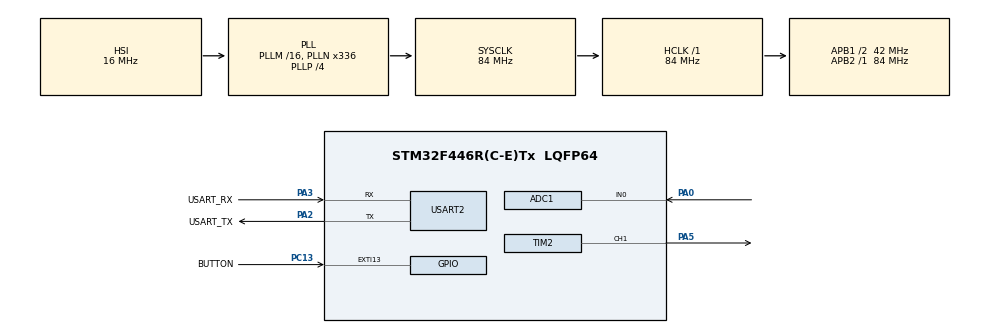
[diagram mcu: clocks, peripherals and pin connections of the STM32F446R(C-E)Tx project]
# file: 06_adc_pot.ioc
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ADC1.Channel-0\#ChannelRegularConversion=ADC_CHANNEL_0
ADC1.NbrOfConversionFlag=1
ADC1.Rank-0\#ChannelRegularConversion=1
ADC1.SamplingTime-0\#ChannelRegularConversion=ADC_SAMPLETIME_84CYCLES
ADC1.master=1
Mcu.Family=STM32F4
Mcu.Name=STM32F446R(C-E)Tx
Mcu.Package=LQFP64
NUCLEO-F446RE.BUTTON=0
NVIC.EXTI15_10_IRQn=true\:0\:0\:false\:false\:true\:true\:true\:true
NVIC.PriorityGroup=NVIC_PRIORITYGROUP_0
NVIC.TIM6_DAC_IRQn=true\:0\:0\:false\:false\:true\:true\:true\:true
PA0-WKUP.Signal=ADCx_IN0
PA13.GPIO_Label=TMS
PA13.Mode=Serial_Wire
PA13.Signal=SYS_JTMS-SWDIO
PA14.GPIO_Label=TCK
PA14.Mode=Serial_Wire
PA14.Signal=SYS_JTCK-SWCLK
PA2.GPIO_Label=USART_TX
PA2.GPIO_Speed=GPIO_SPEED_FREQ_VERY_HIGH
PA2.Mode=Asynchronous
PA2.Signal=USART2_TX
PA3.GPIO_Label=USART_RX
PA3.Mode=Asynchronous
PA3.Signal=USART2_RX
PA5.Signal=S_TIM2_CH1_ETR
PB3.GPIO_Label=SWO
PB3.Signal=SYS_JTDO-SWO
PC13.GPIO_Label=BUTTON
PC13.Signal=GPXTI13
PC14-OSC32_IN.Signal=RCC_OSC32_IN
PC15-OSC32_OUT.Signal=RCC_OSC32_OUT
PH0-OSC_IN.Signal=RCC_OSC_IN
PH1-OSC_OUT.Signal=RCC_OSC_OUT
ProjectManager.HeapSize=0x200
ProjectManager.StackSize=0x400
ProjectManager.TargetToolchain=STM32CubeIDE
RCC.AHBFreq_Value=84000000
RCC.APB1CLKDivider=RCC_HCLK_DIV2
RCC.APB1Freq_Value=42000000
RCC.APB1TimFreq_Value=84000000
RCC.APB2Freq_Value=84000000
RCC.APB2TimFreq_Value=84000000
RCC.CortexFreq_Value=84000000
RCC.FLatency-AdvancedSettings=FLASH_LATENCY_2
RCC.HCLKFreq_Value=84000000
RCC.HSE_VALUE=8000000
RCC.HSI_VALUE=16000000
RCC.LSE_VALUE=32768
RCC.PLLN=336
RCC.PLLP=RCC_PLLP_DIV4
RCC.SYSCLKFreq_VALUE=84000000
RCC.SYSCLKSource=RCC_SYSCLKSOURCE_PLLCLK
RCC.USBFreq_Value=168000000
RCC.VCOOutputFreq_Value=336000000
SH.ADCx_IN0.0=ADC1_IN0,IN0
SH.S_TIM2_CH1_ETR.0=TIM2_CH1,PWM Generation1 CH1
TIM2.AutoReloadPreload=TIM_AUTORELOAD_PRELOAD_ENABLE
TIM2.Channel-PWM\ Generation1\ CH1=TIM_CHANNEL_1
TIM2.Period=999
TIM2.Prescaler=83
TIM6.AutoReloadPreload=TIM_AUTORELOAD_PRELOAD_ENABLE
TIM6.Period=4999
TIM6.Prescaler=8399
USART2.VirtualMode=VM_ASYNC
VP_NUCLEO-F446RE_VS_BSP_COMMON.Mode=COMMON
VP_TIM2_VS_ClockSourceINT.Mode=Internal
VP_TIM6_VS_ClockSourceINT.Mode=Enable_Timer
board=NUCLEO-F446RE

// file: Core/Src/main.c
/* USER CODE BEGIN Header */
/**
  ******************************************************************************
  * @file           : main.c
  * @brief          : Main program body
  ******************************************************************************
  * @attention
  *
  * Copyright (c) 2026 STMicroelectronics.
  * All rights reserved.
  *
  * This software is licensed under terms that can be found in the LICENSE file
  * in the root directory of this software component.
  * If no LICENSE file comes with this software, it is provided AS-IS.
  *
  ******************************************************************************
  */
/* USER CODE END Header */
#include "main.h"

/* USER CODE BEGIN Includes */
#include <stdio.h>

/* USER CODE END Includes */

ADC_HandleTypeDef hadc1;

TIM_HandleTypeDef htim2;
TIM_HandleTypeDef htim6;

UART_HandleTypeDef huart2;

/* USER CODE BEGIN PV */
uint32_t adcValue  = 0;
uint32_t lastPrint = 0;

/* USER CODE END PV */

void SystemClock_Config(void);
static void MX_GPIO_Init(void);
static void MX_USART2_UART_Init(void);
static void MX_TIM6_Init(void);
static void MX_TIM2_Init(void);
static void MX_ADC1_Init(void);

/* USER CODE BEGIN 0 */
int __io_putchar(int ch)
{
    HAL_UART_Transmit(&huart2, (uint8_t *)&ch, 1, HAL_MAX_DELAY);
    return ch;
}
uint32_t readKnobAverage(void)
{
    uint32_t sum = 0;

    for (int i = 0; i < 8; i++)
    {
        HAL_ADC_Start(&hadc1);
        HAL_ADC_PollForConversion(&hadc1, 10);
        sum += HAL_ADC_GetValue(&hadc1);
        HAL_ADC_Stop(&hadc1);
    }

    return sum / 8;
}
/* USER CODE END 0 */

int main(void)
{

  /* MCU Configuration--------------------------------------------------------*/

  /* Reset of all peripherals, Initializes the Flash interface and the Systick. */
  HAL_Init();

  /* Configure the system clock */
  SystemClock_Config();

  /* Initialize all configured peripherals */
  MX_GPIO_Init();
  MX_USART2_UART_Init();
  MX_TIM6_Init();
  MX_TIM2_Init();
  MX_ADC1_Init();
  /* USER CODE BEGIN 2 */
  HAL_TIM_PWM_Start(&htim2, TIM_CHANNEL_1);
  setvbuf(stdout, NULL, _IONBF, 0);
  printf("Lesson 06: turn the knob\r\n");
  HAL_TIM_PWM_Start(&htim2, TIM_CHANNEL_1);

  /* USER CODE END 2 */

  /* Infinite loop */
  while (1)
  {

    /* USER CODE BEGIN 3 */
	  adcValue = readKnobAverage();

	  uint32_t duty = adcValue * 999 / 4095;
	  __HAL_TIM_SET_COMPARE(&htim2, TIM_CHANNEL_1, duty);

	  if (HAL_GetTick() - lastPrint >= 200)
	  {
	      lastPrint = HAL_GetTick();
	      uint32_t mv = adcValue * 3300 / 4095;
	      printf("ADC = %4lu   Voltage = %4lu mV   LED = %3lu%%\r\n", adcValue, mv, duty / 10);
	  }
  }
  /* USER CODE END 3 */
}

void SystemClock_Config(void)
{
  RCC_OscInitTypeDef RCC_OscInitStruct = {0};
  RCC_ClkInitTypeDef RCC_ClkInitStruct = {0};

  /** Configure the main internal regulator output voltage
  */
  __HAL_RCC_PWR_CLK_ENABLE();
  __HAL_PWR_VOLTAGESCALING_CONFIG(PWR_REGULATOR_VOLTAGE_SCALE3);

  /** Initializes the RCC Oscillators according to the specified parameters
  * in the RCC_OscInitTypeDef structure.
  */
  RCC_OscInitStruct.OscillatorType = RCC_OSCILLATORTYPE_HSI;
  RCC_OscInitStruct.HSIState = RCC_HSI_ON;
  RCC_OscInitStruct.HSICalibrationValue = RCC_HSICALIBRATION_DEFAULT;
  RCC_OscInitStruct.PLL.PLLState = RCC_PLL_ON;
  RCC_OscInitStruct.PLL.PLLSource = RCC_PLLSOURCE_HSI;
  RCC_OscInitStruct.PLL.PLLM = 16;
  RCC_OscInitStruct.PLL.PLLN = 336;
  RCC_OscInitStruct.PLL.PLLP = RCC_PLLP_DIV4;
  RCC_OscInitStruct.PLL.PLLQ = 2;
  RCC_OscInitStruct.PLL.PLLR = 2;
  if (HAL_RCC_OscConfig(&RCC_OscInitStruct) != HAL_OK)
  {
    Error_Handler();
  }

  /** Initializes the CPU, AHB and APB buses clocks
  */
  RCC_ClkInitStruct.ClockType = RCC_CLOCKTYPE_HCLK|RCC_CLOCKTYPE_SYSCLK
                              |RCC_CLOCKTYPE_PCLK1|RCC_CLOCKTYPE_PCLK2;
  RCC_ClkInitStruct.SYSCLKSource = RCC_SYSCLKSOURCE_PLLCLK;
  RCC_ClkInitStruct.AHBCLKDivider = RCC_SYSCLK_DIV1;
  RCC_ClkInitStruct.APB1CLKDivider = RCC_HCLK_DIV2;
  RCC_ClkInitStruct.APB2CLKDivider = RCC_HCLK_DIV1;

  if (HAL_RCC_ClockConfig(&RCC_ClkInitStruct, FLASH_LATENCY_2) != HAL_OK)
  {
    Error_Handler();
  }
}

static void MX_ADC1_Init(void)
{

  ADC_ChannelConfTypeDef sConfig = {0};

  /** Configure the global features of the ADC (Clock, Resolution, Data Alignment and number of conversion)
  */
  hadc1.Instance = ADC1;
  hadc1.Init.ClockPrescaler = ADC_CLOCK_SYNC_PCLK_DIV4;
  hadc1.Init.Resolution = ADC_RESOLUTION_12B;
  hadc1.Init.ScanConvMode = DISABLE;
  hadc1.Init.ContinuousConvMode = DISABLE;
  hadc1.Init.DiscontinuousConvMode = DISABLE;
  hadc1.Init.ExternalTrigConvEdge = ADC_EXTERNALTRIGCONVEDGE_NONE;
  hadc1.Init.ExternalTrigConv = ADC_SOFTWARE_START;
  hadc1.Init.DataAlign = ADC_DATAALIGN_RIGHT;
  hadc1.Init.NbrOfConversion = 1;
  hadc1.Init.DMAContinuousRequests = DISABLE;
  hadc1.Init.EOCSelection = ADC_EOC_SINGLE_CONV;
  if (HAL_ADC_Init(&hadc1) != HAL_OK)
  {
    Error_Handler();
  }

  /** Configure for the selected ADC regular channel its corresponding rank in the sequencer and its sample time.
  */
  sConfig.Channel = ADC_CHANNEL_0;
  sConfig.Rank = 1;
  sConfig.SamplingTime = ADC_SAMPLETIME_84CYCLES;
  if (HAL_ADC_ConfigChannel(&hadc1, &sConfig) != HAL_OK)
  {
    Error_Handler();
  }

}

static void MX_TIM2_Init(void)
{

  TIM_ClockConfigTypeDef sClockSourceConfig = {0};
  TIM_MasterConfigTypeDef sMasterConfig = {0};
  TIM_OC_InitTypeDef sConfigOC = {0};

  htim2.Instance = TIM2;
  htim2.Init.Prescaler = 83;
  htim2.Init.CounterMode = TIM_COUNTERMODE_UP;
  htim2.Init.Period = 999;
  htim2.Init.ClockDivision = TIM_CLOCKDIVISION_DIV1;
  htim2.Init.AutoReloadPreload = TIM_AUTORELOAD_PRELOAD_ENABLE;
  if (HAL_TIM_Base_Init(&htim2) != HAL_OK)
  {
    Error_Handler();
  }
  sClockSourceConfig.ClockSource = TIM_CLOCKSOURCE_INTERNAL;
  if (HAL_TIM_ConfigClockSource(&htim2, &sClockSourceConfig) != HAL_OK)
  {
    Error_Handler();
  }
  if (HAL_TIM_PWM_Init(&htim2) != HAL_OK)
  {
    Error_Handler();
  }
  sMasterConfig.MasterOutputTrigger = TIM_TRGO_RESET;
  sMasterConfig.MasterSlaveMode = TIM_MASTERSLAVEMODE_DISABLE;
  if (HAL_TIMEx_MasterConfigSynchronization(&htim2, &sMasterConfig) != HAL_OK)
  {
    Error_Handler();
  }
  sConfigOC.OCMode = TIM_OCMODE_PWM1;
  sConfigOC.Pulse = 0;
  sConfigOC.OCPolarity = TIM_OCPOLARITY_HIGH;
  sConfigOC.OCFastMode = TIM_OCFAST_DISABLE;
  if (HAL_TIM_PWM_ConfigChannel(&htim2, &sConfigOC, TIM_CHANNEL_1) != HAL_OK)
  {
    Error_Handler();
  }
  HAL_TIM_MspPostInit(&htim2);

}

static void MX_TIM6_Init(void)
{

  TIM_MasterConfigTypeDef sMasterConfig = {0};

  htim6.Instance = TIM6;
  htim6.Init.Prescaler = 8399;
  htim6.Init.CounterMode = TIM_COUNTERMODE_UP;
  htim6.Init.Period = 4999;
  htim6.Init.AutoReloadPreload = TIM_AUTORELOAD_PRELOAD_ENABLE;
  if (HAL_TIM_Base_Init(&htim6) != HAL_OK)
  {
    Error_Handler();
  }
  sMasterConfig.MasterOutputTrigger = TIM_TRGO_RESET;
  sMasterConfig.MasterSlaveMode = TIM_MASTERSLAVEMODE_DISABLE;
  if (HAL_TIMEx_MasterConfigSynchronization(&htim6, &sMasterConfig) != HAL_OK)
  {
    Error_Handler();
  }

}

static void MX_USART2_UART_Init(void)
{

  huart2.Instance = USART2;
  huart2.Init.BaudRate = 115200;
  huart2.Init.WordLength = UART_WORDLENGTH_8B;
  huart2.Init.StopBits = UART_STOPBITS_1;
  huart2.Init.Parity = UART_PARITY_NONE;
  huart2.Init.Mode = UART_MODE_TX_RX;
  huart2.Init.HwFlowCtl = UART_HWCONTROL_NONE;
  huart2.Init.OverSampling = UART_OVERSAMPLING_16;
  if (HAL_UART_Init(&huart2) != HAL_OK)
  {
    Error_Handler();
  }

}

static void MX_GPIO_Init(void)
{
  GPIO_InitTypeDef GPIO_InitStruct = {0};

  /* GPIO Ports Clock Enable */
  __HAL_RCC_GPIOC_CLK_ENABLE();
  __HAL_RCC_GPIOH_CLK_ENABLE();
  __HAL_RCC_GPIOA_CLK_ENABLE();
  __HAL_RCC_GPIOB_CLK_ENABLE();

  /*Configure GPIO pin : BUTTON_Pin */
  GPIO_InitStruct.Pin = BUTTON_Pin;
  GPIO_InitStruct.Mode = GPIO_MODE_IT_RISING;
  GPIO_InitStruct.Pull = GPIO_NOPULL;
  HAL_GPIO_Init(BUTTON_GPIO_Port, &GPIO_InitStruct);

  /* EXTI interrupt init*/
  HAL_NVIC_SetPriority(EXTI15_10_IRQn, 0, 0);
  HAL_NVIC_EnableIRQ(EXTI15_10_IRQn);

}

void Error_Handler(void)
{
  __disable_irq();
  while (1)
  {
  }
}
